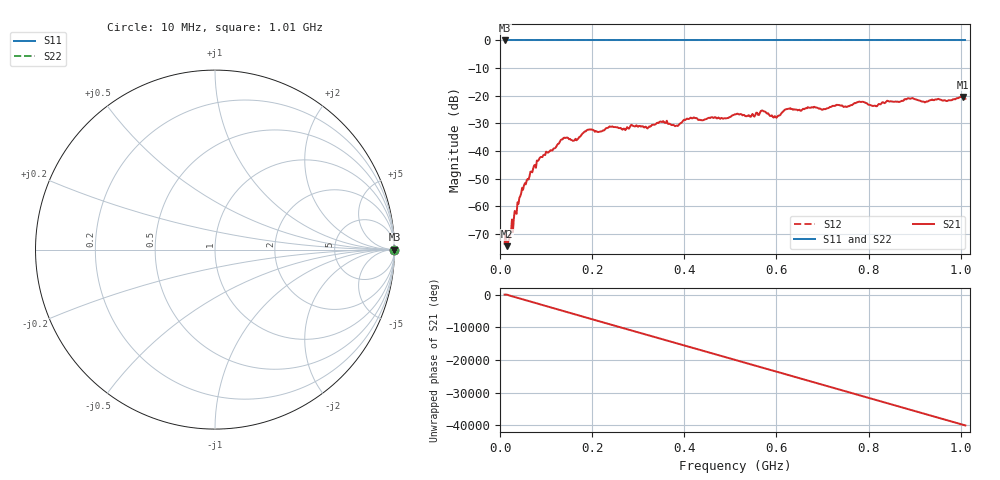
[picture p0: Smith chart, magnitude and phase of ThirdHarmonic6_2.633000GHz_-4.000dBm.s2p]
! 8/17/2025 5:53:54 AM
! C:\ANRITSUVNA\TEMP\TEMP.S2P
! CHANNEL.1
! TR.MEASUREMENT
! RAW.DATA
! RF.CORRECTION.OFF
! AVERAGING.OFF
! IF.BANDWIDTH: 5KHZ
! SWEEPTYPE:  FREQ.SWEEP(Linear)
! Reference Plane Port Info
! PORT:  PORT1  PORT2
! DISTANCE:  0  m  0  m
! TIME:  0  s  0  s
! PHASE.OFFSET:  0  deg.  0  deg.
! LOSS:  0  dB  0  dB
! REF.LOSS:  0  dB  0  dB
! REF.FREQ:  0  Hz  0  Hz
! Power Info
! POWER:  -20  dBm  -20  dBm
! EFF.POWER:  -20  dBm  -20  dBm
! SOURCE.ATTEN:  0  dB  0  dB
! TEST.ATTEN:  0  dB  0  dB
# GHZ S RI R 50.0
! FREQ.GHZ  S11RE  S11IM  S21RE  S21IM  S12RE  S12IM  S22RE  S22IM
!; PortSelection: Port_12
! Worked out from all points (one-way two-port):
!   501 points, 10 MHz to 1.01 GHz, reference 50 ohm
!   highest |S21| = -20.41 dB at 1.004 GHz (marker M1); lowest = -74.4 dB at 16 MHz (marker M2)
!   lowest |S11| = 0.0 dB at 10 MHz (marker M3)
!   |S11| at or under -10 dB: nowhere
!   |S22| runs from 0.0 to 0.0 dB; largest |S21 - S12| = 1.1
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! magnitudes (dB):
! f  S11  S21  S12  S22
! 10 MHz  0.0  -73.4  0.0  0.0
! 16 MHz  0.0  -74.4  0.0  0.0
! 20 MHz  0.0  -71.8  0.0  0.0
! 50 MHz  0.0  -54.0  0.0  0.0
! 84 MHz  0.0  -43.2  0.0  0.0
! 136 MHz  0.0  -35.7  0.0  0.0
! 162 MHz  0.0  -36.1  0.0  0.0
! 178 MHz  0.0  -33.8  0.0  0.0
! 194 MHz  0.0  -32.2  0.0  0.0
! 344 MHz  0.0  -29.8  0.0  0.0
! 384 MHz  0.0  -30.8  0.0  0.0
! 410 MHz  0.0  -28.4  0.0  0.0
! 510 MHz  0.0  -26.7  0.0  0.0
! 570 MHz  0.0  -25.4  0.0  0.0
! 596 MHz  0.0  -27.4  0.0  0.0
! 622 MHz  0.0  -24.8  0.0  0.0
! 678 MHz  0.0  -24.1  0.0  0.0
! 782 MHz  0.0  -22.2  0.0  0.0
! 814 MHz  0.0  -23.6  0.0  0.0
! 844 MHz  0.0  -22.0  0.0  0.0
! 1.004 GHz  0.0  -20.4  0.0  0.0
! 1.01 GHz  0.0  -21.1  0.0  0.0
